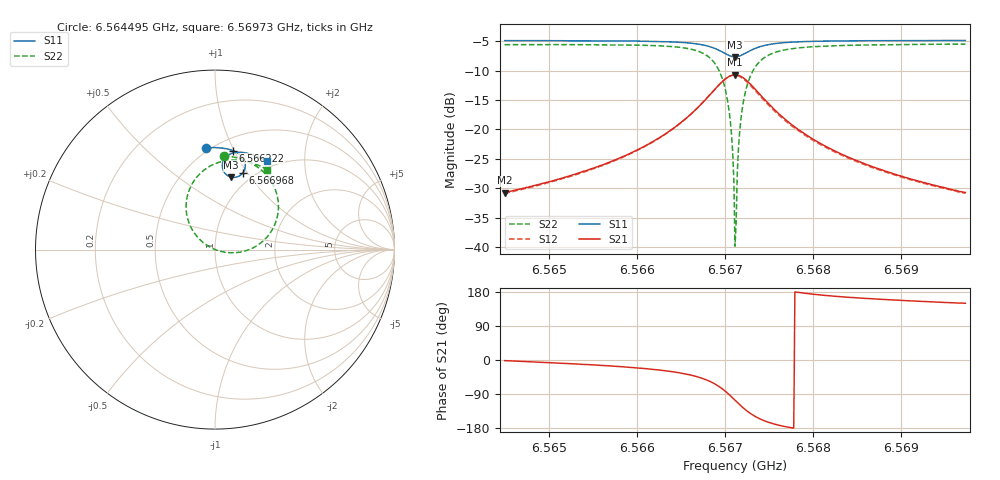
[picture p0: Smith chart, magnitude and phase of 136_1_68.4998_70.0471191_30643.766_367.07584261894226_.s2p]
#  HZ  S  RI  R  50.00
! Rohde & Schwarz Vector Network Analyzer
! Rohde-Schwarz,ZNB20-2Port,1311601062101988,3.16
! Created: UTC 3/20/2024, 5:09:49 PM
! freq[Hz]  re:S11  im:S11  re:S21  im:S21  re:S12  im:S12  re:S22  im:S22
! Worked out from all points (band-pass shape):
!   401 points, 6.564495 GHz to 6.56973 GHz, reference 50 ohm
!   highest |S21| = -10.71 dB at 6.567112 GHz (marker M1); lowest = -30.8 dB at 6.564495 GHz (marker M2)
!   |S21| within 3 dB of the highest: 6.566852 GHz to 6.567374 GHz (522.5 kHz wide, 0.00796 % of centre)
!   lowest |S11| = -7.7 dB at 6.567112 GHz (marker M3), VSWR 2.41, Z = 41.9 + j40.8 ohm
!   |S11| at or under -10 dB: nowhere
!   |S22| runs from -39.9 to -5.5 dB; largest |S21 - S12| = 0.014
!   S11 on the Smith chart (normalised r, x): 6.564495 GHz: 0.47, +0.79; 6.566222 GHz: 0.62, +0.99; 6.566968 GHz: 0.88, +0.95; 6.56973 GHz: 0.90, +1.32
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6.5644949e9  -0.0522 0.5666  0.0289 -0.000866  0.0286 -0.00125  0.048 0.5235
6.5653717e9  0.0201 0.5675  0.0426 -0.00865  0.0419 -0.0091  0.1325 0.5086
6.5662225e9  0.101 0.551  0.0741 -0.0357  0.073 -0.0365  0.2484 0.4515
6.5662486e9  0.1039 0.5497  0.0757 -0.0376  0.0746 -0.0385  0.2531 0.4478
6.5665497e9  0.1394 0.5283  0.0985 -0.0735  0.097 -0.0751  0.3152 0.3768
6.5667591e9  0.1637 0.4945  0.1116 -0.1328  0.1089 -0.1353  0.3526 0.2629
6.5668769e9  0.1683 0.4607  0.1007 -0.1916  0.0957 -0.1952  0.3376 0.1506
6.5669685e9  0.1553 0.4279  0.0612 -0.2476  0.0526 -0.2507  0.266 0.0459
6.567047e9  0.1254 0.4059  -0.00716 -0.2825  -0.0191 -0.2817  0.1401 -0.0142
6.5670732e9  0.1118 0.4028  -0.0357 -0.2858  -0.0484 -0.2831  0.0881 -0.0179
6.5670994e9  0.0978 0.4027  -0.0654 -0.2835  -0.078 -0.2786  0.0354 -0.011
6.5671124e9  0.0907 0.4038  -0.0802 -0.2802  -0.0923 -0.2741  0.00965 -0.00321
6.5671255e9  0.0837 0.4058  -0.0943 -0.2753  -0.1062 -0.2683  -0.0148 0.00707
6.5671386e9  0.0772 0.4084  -0.108 -0.2692  -0.1192 -0.2609  -0.0381 0.0198
6.5671648e9  0.0651 0.4159  -0.1327 -0.2533  -0.1425 -0.2435  -0.0793 0.0509
6.567191e9  0.0554 0.4254  -0.1531 -0.2337  -0.161 -0.2225  -0.1122 0.0882
6.5672433e9  0.0435 0.4476  -0.1799 -0.1893  -0.1838 -0.1774  -0.1516 0.1696
6.5673088e9  0.0411 0.4749  -0.1899 -0.1362  -0.1901 -0.1254  -0.1599 0.2635
6.5675574e9  0.0796 0.5298  -0.1455 -0.0283  -0.1421 -0.0238  -0.0581 0.4452
6.5679893e9  0.1428 0.5423  -0.0829 0.00893  -0.081 0.0102  0.0811 0.4979
6.5688662e9  0.2259 0.5223  -0.0403 0.0154  -0.0393 0.0157  0.2118 0.4811
6.56973e9  0.2902 0.4913  -0.0251 0.0147  -0.0245 0.0149  0.2894 0.446
